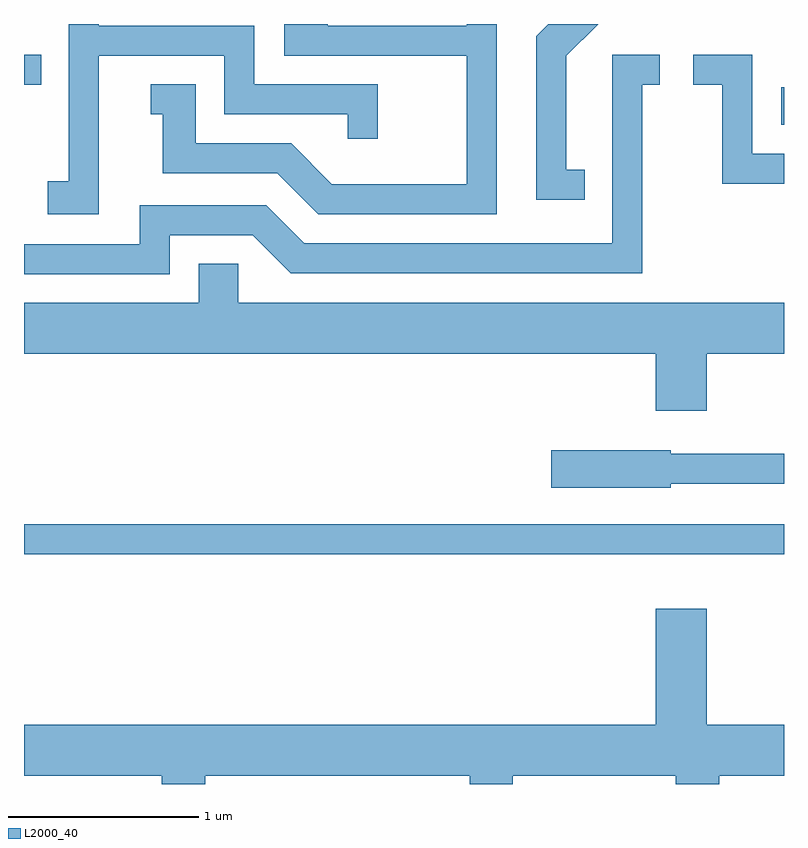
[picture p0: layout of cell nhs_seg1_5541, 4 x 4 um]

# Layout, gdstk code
import gdstk
lib = gdstk.Library(unit=1e-6, precision=1e-09)
def R(c, l, rs):  # rectangles x0, y0, x1, y1
    for r in rs: c.add(gdstk.rectangle(r[:2], r[2:], *l))
def P(c, l, *ps):  # polygons
    for p in ps: c.add(gdstk.Polygon(p, *l))
L2000_40 = (2000, 40)

nhs_seg1_5541 = lib.new_cell('nhs_seg1_5541')
R(nhs_seg1_5541, L2000_40, [(351.611,942.921,355.611,943.079), (355.596,945.181,355.611,945.379), (351.611,945.391,351.703,945.549)])
P(nhs_seg1_5541, L2000_40, [(354.099,945.712),(353.941,945.712),(353.941,945.704),(353.209,945.704),(353.209,945.712),(352.981,945.712),(352.981,945.546),(353.941,945.546),(353.941,944.869),(353.232,944.869),(353.017,945.084),(352.514,945.084),(352.514,945.394),(352.278,945.394),(352.278,945.236),(352.341,945.236),(352.341,944.926),(352.944,944.926),(353.159,944.711),(354.099,944.711)],
  [(354.563,944.944),(354.464,944.944),(354.464,945.544),(354.633,945.712),(354.371,945.712),(354.306,945.647),(354.306,944.786),(354.563,944.786)],
  [(352.004,945.546),(352.666,945.546),(352.666,945.236),(353.316,945.236),(353.316,945.108),(353.474,945.108),(353.474,945.394),(352.824,945.394),(352.824,945.704),(352.004,945.704),(352.004,945.712),(351.846,945.712),(351.846,944.884),(351.736,944.884),(351.736,944.711),(352.004,944.711)],
  [(355.611,945.029),(355.444,945.029),(355.444,945.549),(355.133,945.549),(355.133,945.391),(355.286,945.391),(355.286,944.871),(355.611,944.871)],
  [(352.379,944.601),(352.814,944.601),(353.014,944.401),(354.864,944.401),(354.864,945.391),(354.958,945.391),(354.958,945.549),(354.706,945.549),(354.706,944.559),(353.087,944.559),(352.887,944.759),(352.221,944.759),(352.221,944.554),(351.611,944.554),(351.611,944.396),(352.379,944.396)],
  [(355.204,943.976),(355.611,943.976),(355.611,944.244),(352.739,944.244),(352.739,944.449),(352.531,944.449),(352.531,944.244),(351.611,944.244),(351.611,943.976),(354.936,943.976),(354.936,943.676),(355.204,943.676)],
  [(355.014,943.291),(355.611,943.291),(355.611,943.449),(355.014,943.449),(355.014,943.469),(354.386,943.469),(354.386,943.271),(355.014,943.271)],
  [(352.564,941.756),(353.956,941.756),(353.956,941.712),(354.184,941.712),(354.184,941.756),(355.041,941.756),(355.041,941.712),(355.269,941.712),(355.269,941.756),(355.611,941.756),(355.611,942.024),(355.204,942.024),(355.204,942.634),(354.936,942.634),(354.936,942.024),(351.611,942.024),(351.611,941.756),(352.336,941.756),(352.336,941.712),(352.564,941.712)])

lib.write_gds('nhs_seg1_5541.gds')
